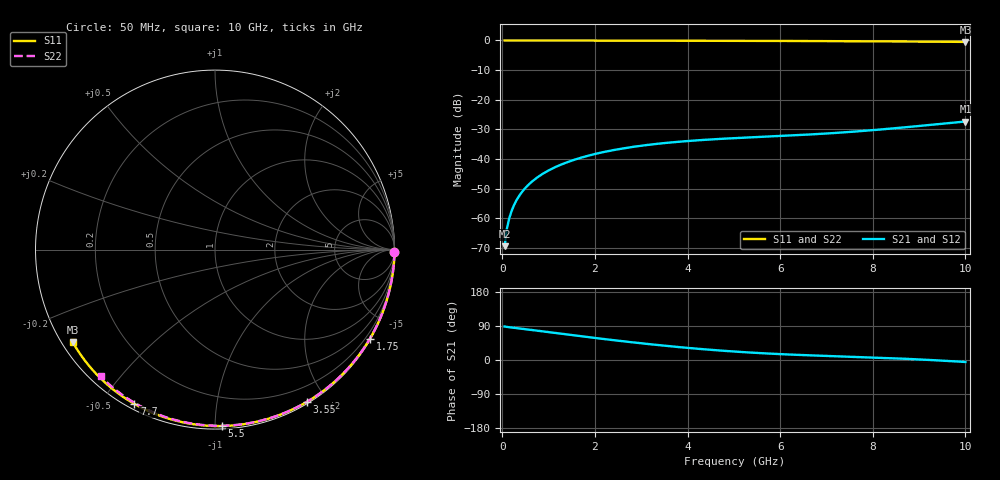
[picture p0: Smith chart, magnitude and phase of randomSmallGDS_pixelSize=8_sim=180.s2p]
! freq	dB(S11)	phase(S11)	dB(S12)	phase(S12)
!  dB(S21)	phase(S21)	dB(S22)	phase(S22)
!S-par simulation data
#  GHz  S  DB  R 50
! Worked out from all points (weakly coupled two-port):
!   200 points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, 50 MHz to 10 GHz, reference 50 ohm
!   highest |S21| = -27.37 dB at 10 GHz (marker M1); lowest = -69.5 dB at 50 MHz (marker M2)
!   lowest |S11| = -0.5 dB at 10 GHz (marker M3), VSWR 35.66, Z = 1.52 - j14.8 ohm
!   |S11| at or under -10 dB: nowhere
!   |S22| runs from -0.4 to 0.0 dB; largest |S21 - S12| = 0
!   S11 on the Smith chart (normalised r, x): 50 MHz: open; 1.75 GHz: 0.03, -3.75; 3.55 GHz: 0.02, -1.77; 5.5 GHz: 0.02, -1.04; 7.7 GHz: 0.02, -0.61; 10 GHz: 0.03, -0.30
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0.05  -0.00 -0.9  -69.45 88.4  -69.45 88.4  -0.00 -0.8
0.1  -0.00 -1.7  -63.52 87.3  -63.52 87.3  -0.00 -1.6
0.15  -0.00 -2.6  -60.07 86.4  -60.07 86.4  -0.00 -2.3
0.2  -0.00 -3.5  -57.62 85.7  -57.62 85.7  -0.00 -3.1
0.25  -0.00 -4.3  -55.71 85.0  -55.71 85.0  -0.00 -3.9
0.35  -0.00 -6.1  -52.83 83.5  -52.83 83.5  -0.00 -5.4
0.5  -0.01 -8.7  -49.77 81.3  -49.77 81.3  -0.01 -7.7
0.7  -0.01 -12.1  -46.90 78.2  -46.90 78.2  -0.01 -10.8
1  -0.02 -17.2  -43.89 73.5  -43.89 73.5  -0.02 -15.4
1.35  -0.03 -23.2  -41.42 68.1  -41.42 68.1  -0.03 -20.7
1.75  -0.04 -29.9  -39.36 61.9  -39.36 61.9  -0.03 -26.7
2.5  -0.05 -42.2  -36.74 50.9  -36.74 50.9  -0.05 -37.8
3.4  -0.08 -56.6  -34.81 39.0  -34.81 39.0  -0.07 -50.8
3.55  -0.08 -59.0  -34.57 37.2  -34.57 37.2  -0.07 -52.9
4.3  -0.10 -70.4  -33.62 28.8  -33.62 28.8  -0.09 -63.3
5.05  -0.13 -81.4  -32.95 22.0  -32.95 22.0  -0.11 -73.3
5.5  -0.14 -87.9  -32.61 18.6  -32.61 18.6  -0.13 -79.2
6.7  -0.20 -104.4  -31.69 12.0  -31.69 12.0  -0.18 -94.2
7.7  -0.27 -117.6  -30.66 7.9  -30.66 7.9  -0.24 -106.1
8.35  -0.32 -126.0  -29.81 5.0  -29.81 5.0  -0.29 -113.6
9.2  -0.40 -136.8  -28.58 0.3  -28.58 0.3  -0.36 -123.2
10  -0.49 -147.0  -27.37 -5.2  -27.37 -5.2  -0.44 -132.1
